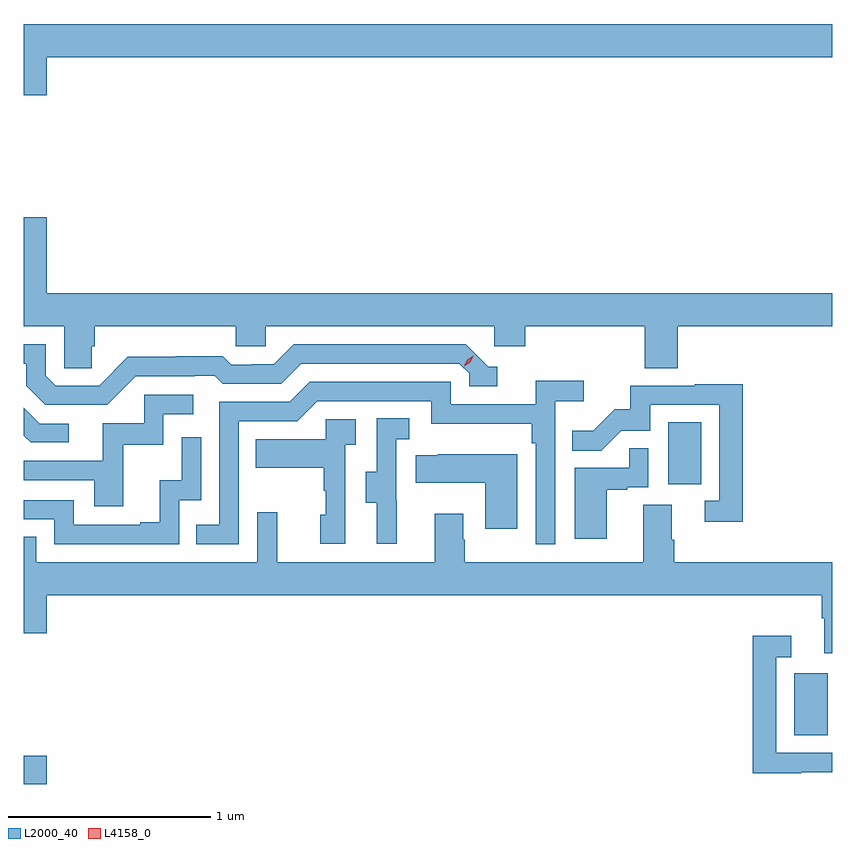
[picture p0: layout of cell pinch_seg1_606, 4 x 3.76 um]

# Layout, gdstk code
import gdstk
lib = gdstk.Library(unit=1e-6, precision=1e-09)
def R(c, l, rs):  # rectangles x0, y0, x1, y1
    for r in rs: c.add(gdstk.rectangle(r[:2], r[2:], *l))
def P(c, l, *ps):  # polygons
    for p in ps: c.add(gdstk.Polygon(p, *l))
L2000_40 = (2000, 40)
L4158_0 = (4158, 0)

pinch_seg1_606 = lib.new_cell('pinch_seg1_606')
R(pinch_seg1_606, L2000_40, [(1100.123,504.179,1100.236,504.319), (1103.936,504.42,1104.1,504.727), (1103.312,505.662,1103.476,505.969)])
P(pinch_seg1_606, L2000_40, [(1100.236,507.776),(1104.123,507.776),(1104.123,507.94),(1100.123,507.94),(1100.123,507.588),(1100.236,507.588)],
  [(1100.459,506.346),(1100.474,506.346),(1100.474,506.444),(1101.171,506.444),(1101.171,506.346),(1101.321,506.346),(1101.321,506.444),(1102.452,506.444),(1102.452,506.346),(1102.604,506.346),(1102.604,506.444),(1103.195,506.444),(1103.195,506.236),(1103.36,506.236),(1103.36,506.444),(1104.123,506.444),(1104.123,506.608),(1100.236,506.608),(1100.236,506.983),(1100.123,506.983),(1100.123,506.444),(1100.322,506.444),(1100.322,506.236),(1100.459,506.236)],
  [(1100.676,506.196),(1100.969,506.196),(1100.969,506.199),(1101.068,506.199),(1101.107,506.16),(1101.396,506.16),(1101.495,506.259),(1102.278,506.259),(1102.326,506.211),(1102.326,506.148),(1102.465,506.148),(1102.465,506.244),(1102.422,506.244),(1102.311,506.355),(1101.458,506.355),(1101.359,506.256),(1101.252,506.256),(1101.252,506.253),(1101.149,506.253),(1101.107,506.296),(1100.874,506.296),(1100.874,506.293),(1100.638,506.293),(1100.496,506.151),(1100.28,506.151),(1100.232,506.199),(1100.232,506.355),(1100.123,506.355),(1100.123,506.259),(1100.135,506.259),(1100.135,506.149),(1100.229,506.055),(1100.535,506.055)],
  [(1101.186,505.974),(1101.477,505.974),(1101.576,506.073),(1102.14,506.073),(1102.14,505.961),(1102.636,505.961),(1102.636,505.865),(1102.656,505.865),(1102.656,505.365),(1102.752,505.365),(1102.752,506.072),(1102.894,506.072),(1102.894,506.174),(1102.655,506.174),(1102.655,506.058),(1102.236,506.058),(1102.236,506.169),(1101.539,506.169),(1101.44,506.07),(1101.09,506.07),(1101.09,505.461),(1100.977,505.461),(1100.977,505.365),(1101.186,505.365)],
  [(1103.681,506.156),(1103.443,506.156),(1103.443,506.151),(1103.125,506.151),(1103.125,506.034),(1103.048,506.034),(1102.941,505.927),(1102.837,505.927),(1102.837,505.828),(1102.981,505.828),(1103.079,505.926),(1103.223,505.926),(1103.223,506.055),(1103.565,506.055),(1103.565,505.581),(1103.493,505.581),(1103.493,505.476),(1103.681,505.476)],
  [(1100.615,505.857),(1100.814,505.857),(1100.814,506.01),(1100.962,506.01),(1100.962,506.106),(1100.718,506.106),(1100.718,505.965),(1100.513,505.965),(1100.513,505.779),(1100.123,505.779),(1100.123,505.683),(1100.471,505.683),(1100.471,505.554),(1100.615,505.554)],
  [(1100.344,505.962),(1100.202,505.962),(1100.123,506.041),(1100.123,505.902),(1100.156,505.869),(1100.344,505.869)],
  [(1101.968,505.581),(1101.966,505.581),(1101.966,505.885),(1102.03,505.885),(1102.03,505.988),(1101.87,505.988),(1101.87,505.725),(1101.815,505.725),(1101.815,505.57),(1101.869,505.57),(1101.869,505.368),(1101.968,505.368)],
  [(1101.714,505.859),(1101.766,505.859),(1101.766,505.983),(1101.618,505.983),(1101.618,505.885),(1101.271,505.885),(1101.271,505.745),(1101.606,505.745),(1101.606,505.631),(1101.616,505.631),(1101.616,505.512),(1101.59,505.512),(1101.59,505.368),(1101.714,505.368)],
  [(1100.892,505.584),(1101,505.584),(1101,505.894),(1100.904,505.894),(1100.904,505.682),(1100.795,505.682),(1100.795,505.474),(1100.699,505.474),(1100.699,505.461),(1100.37,505.461),(1100.37,505.584),(1100.123,505.584),(1100.123,505.488),(1100.274,505.488),(1100.274,505.365),(1100.892,505.365)],
  [(1103.008,505.635),(1103.108,505.635),(1103.108,505.647),(1103.214,505.647),(1103.214,505.841),(1103.119,505.841),(1103.119,505.743),(1102.85,505.743),(1102.85,505.392),(1103.008,505.392)],
  [(1102.564,505.81),(1102.171,505.81),(1102.171,505.807),(1102.063,505.807),(1102.063,505.67),(1102.406,505.67),(1102.406,505.443),(1102.564,505.443)],
  [(1104.123,505.276),(1103.342,505.276),(1103.342,505.388),(1103.329,505.388),(1103.329,505.562),(1103.189,505.562),(1103.189,505.276),(1102.305,505.276),(1102.305,505.388),(1102.297,505.388),(1102.297,505.516),(1102.157,505.516),(1102.157,505.276),(1101.377,505.276),(1101.377,505.525),(1101.279,505.525),(1101.279,505.276),(1100.184,505.276),(1100.184,505.403),(1100.123,505.403),(1100.123,504.924),(1100.236,504.924),(1100.236,505.112),(1104.071,505.112),(1104.071,505),(1104.083,505),(1104.083,504.826),(1104.123,504.826)],
  [(1103.969,504.237),(1104.123,504.237),(1104.123,504.333),(1103.847,504.333),(1103.847,504.807),(1103.92,504.807),(1103.92,504.913),(1103.731,504.913),(1103.731,504.232),(1103.969,504.232)])
P(pinch_seg1_606, L4158_0, [(1102.302,506.246),(1102.302,506.246),(1102.318,506.278),(1102.348,506.298),(1102.348,506.298),(1102.348,506.297),(1102.332,506.265),(1102.302,506.246)])

lib.write_gds('pinch_seg1_606.gds')
